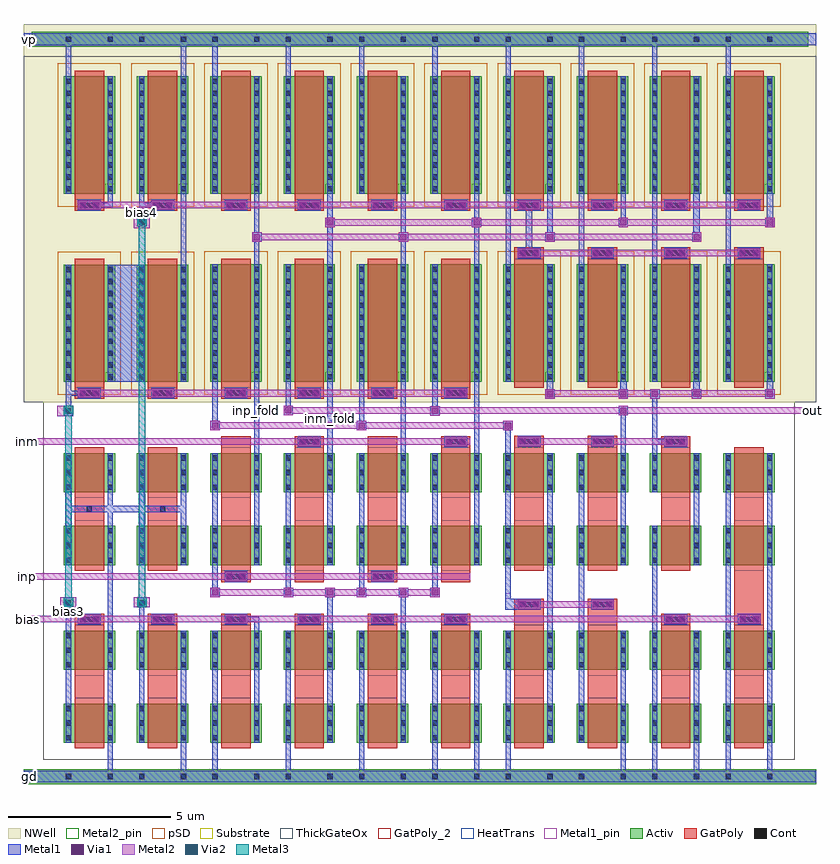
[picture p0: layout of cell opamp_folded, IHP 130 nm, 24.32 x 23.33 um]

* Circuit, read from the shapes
.subckt opamp_folded bias bias3 bias4 gd inm inm_fold inp inp_fold out vp
XM1 gd bias bias3 gd sg13_hv_nmos w=1.2u l=0.9u m=2
XM2 gd gd gd gd sg13_hv_nmos w=1.2u l=0.9u m=4
XM3 gd bias bias4 gd sg13_hv_nmos w=1.2u l=0.9u m=2
XM4 bias bias gd gd sg13_hv_nmos w=1.2u l=0.9u m=2
XM5 inp_fold inp n1 gd sg13_hv_nmos w=1.2u l=0.9u m=4
XM6 n1 bias gd gd sg13_hv_nmos w=1.2u l=0.9u m=4
XM7 inm_fold inm n1 gd sg13_hv_nmos w=1.2u l=0.9u m=4
XM8 gd bias gd gd sg13_hv_nmos w=1.2u l=0.9u m=8
XM9 n2 n3 gd gd sg13_hv_nmos w=1.2u l=0.9u m=2
XM10 n2 n4 n3 gd sg13_hv_nmos w=1.2u l=0.9u m=2
XM11 gd n3 n5 gd sg13_hv_nmos w=1.2u l=0.9u m=2
XM12 out n4 n5 gd sg13_hv_nmos w=1.2u l=0.9u m=2
XM13 n6 n4 gd gd sg13_hv_nmos w=1.2u l=0.9u
XM14 n6 n4 n4 gd sg13_hv_nmos w=1.2u l=0.9u
XM15 n7 bias3 bias3 vp sg13_hv_pmos w=3.6u l=0.9u
XM16 bias4 bias4 vp vp sg13_hv_pmos w=3.6u l=0.9u m=2
XM17 vp bias3 n7 vp sg13_hv_pmos w=3.6u l=0.9u
XM18 inp_fold bias3 n3 vp sg13_hv_pmos w=3.6u l=0.9u m=2
XM19 inp_fold bias4 vp vp sg13_hv_pmos w=3.6u l=0.9u m=4
XM20 inm_fold bias3 out vp sg13_hv_pmos w=3.6u l=0.9u m=2
XM21 inm_fold bias4 vp vp sg13_hv_pmos w=3.6u l=0.9u m=4
XM22 n4 bias4 vp vp sg13_hv_pmos w=3.6u l=0.9u m=4
.ends

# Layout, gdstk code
import gdstk
lib = gdstk.Library(unit=1e-6, precision=1e-09)
def R(c, l, rs):  # rectangles x0, y0, x1, y1
    for r in rs: c.add(gdstk.rectangle(r[:2], r[2:], *l))
def A(c, l, x, y, w, h, nx, ny, dx, dy):  # array of equal rectangles
    R(c, l, [(x+i*dx, y+j*dy, x+i*dx+w, y+j*dy+h) for i in range(nx) for j in range(ny)])
Activ = (1, 0)
GatPoly = (5, 0)
GatPoly_2 = (5, 2)
Cont = (6, 0)
Metal1 = (8, 0)
Metal1_pin = (8, 2)
Metal2 = (10, 0)
Metal2_pin = (10, 2)
pSD = (14, 0)
Via1 = (19, 0)
Via2 = (29, 0)
Metal3 = (30, 0)
NWell = (31, 0)
Substrate = (40, 0)
ThickGateOx = (44, 0)
HeatTrans = (51, 0)

pmoshv = lib.new_cell('pmosHV')
R(pmoshv, Activ, [(0,0,0.3,0.3), (0,0,1.58,3.6), (1.28,0,1.58,0.3)])
R(pmoshv, GatPoly, [(0.34,-0.18,1.24,3.78)])
R(pmoshv, GatPoly_2, [(0.34,-0.18,1.24,3.78)])
A(pmoshv, Cont, 0.07, 0.07, 0.16, 0.16, 1, 3, 0, 0.365)
A(pmoshv, Cont, 1.35, 0.07, 0.16, 0.16, 1, 3, 0, 0.365)
A(pmoshv, Cont, 0.07, 1.17, 0.16, 0.16, 1, 3, 0, 0.365)
A(pmoshv, Cont, 1.35, 1.17, 0.16, 0.16, 1, 3, 0, 0.365)
A(pmoshv, Cont, 0.07, 2.27, 0.16, 0.16, 1, 3, 0, 0.365)
A(pmoshv, Cont, 1.35, 2.27, 0.16, 0.16, 1, 3, 0, 0.365)
R(pmoshv, Cont, [(0.07,3.37,0.23,3.53), (1.35,3.37,1.51,3.53)])
R(pmoshv, Metal1, [(0.07,0,0.23,3.6), (1.35,0,1.51,3.6)])
R(pmoshv, Metal1_pin, [(0.07,0,0.23,3.6), (1.35,0,1.51,3.6)])
R(pmoshv, pSD, [(-0.18,-0.4,1.76,4)])
R(pmoshv, NWell, [(-0.62,-0.62,2.2,4.22)])
R(pmoshv, Substrate, [(1.28,0,1.58,0.3)])
R(pmoshv, ThickGateOx, [(-0.62,-0.62,2.2,4.22)])
R(pmoshv, HeatTrans, [(0.34,-0.18,1.24,3.78)])
pmoshv.add(gdstk.Label('pmosHV', (0.79,1.8), layer=63, texttype=0))
pmoshv.add(gdstk.Label('pmos', (0.79,1.8), layer=51, texttype=0))

via_stack_1 = lib.new_cell('via_stack$1')
R(via_stack_1, Metal1, [(-0.145,-0.145,0.145,0.145)])
R(via_stack_1, Metal2, [(-0.145,-0.145,0.145,0.145)])
R(via_stack_1, Via1, [(-0.095,-0.095,0.095,0.095)])

via_stack_6 = lib.new_cell('via_stack$6')
R(via_stack_6, Metal1, [(-0.145,-0.145,0.145,0.145)])
R(via_stack_6, Metal2, [(-0.145,-0.145,0.145,0.145)])
R(via_stack_6, Via1, [(-0.095,-0.095,0.095,0.095)])
R(via_stack_6, Via2, [(-0.095,-0.095,0.095,0.095)])
R(via_stack_6, Metal3, [(-0.145,-0.145,0.145,0.145)])

via_stack = lib.new_cell('via_stack')
R(via_stack, Metal1, [(-0.35,-0.145,0.35,0.145)])
R(via_stack, Metal2, [(-0.35,-0.145,0.35,0.145)])
R(via_stack, Via1, [(-0.3,-0.095,-0.11,0.095), (0.11,-0.095,0.3,0.095)])

nmoshv = lib.new_cell('nmosHV')
R(nmoshv, Activ, [(0,0,0.3,0.3), (0,0,1.58,1.2), (1.28,0,1.58,0.3)])
R(nmoshv, GatPoly, [(0.34,-0.18,1.24,1.38)])
R(nmoshv, GatPoly_2, [(0.34,-0.18,1.24,1.38)])
A(nmoshv, Cont, 0.07, 0.07, 0.16, 0.16, 1, 3, 0, 0.45)
A(nmoshv, Cont, 1.35, 0.07, 0.16, 0.16, 1, 3, 0, 0.45)
R(nmoshv, Metal1, [(0.07,0,0.23,1.2), (1.35,0,1.51,1.2)])
R(nmoshv, Metal1_pin, [(0.07,0,0.23,1.2), (1.35,0,1.51,1.2)])
R(nmoshv, ThickGateOx, [(-0.27,-0.52,1.85,1.72)])
R(nmoshv, HeatTrans, [(0.34,-0.18,1.24,1.38)])
nmoshv.add(gdstk.Label('nmosHV', (0.79,0.6), layer=63, texttype=0))
nmoshv.add(gdstk.Label('nmosHV', (0.79,0.6), layer=51, texttype=0))

opamp_folded = lib.new_cell('opamp_folded')
A(opamp_folded, GatPoly, 6.06, 6.2, 0.9, 0.34, 4, 2, 2.25, 4.14)
A(opamp_folded, GatPoly, 6.06, 11.83, 0.9, 0.34, 4, 1, 2.25, 0)
A(opamp_folded, GatPoly, 15.06, 16.13, 0.9, 0.34, 4, 1, 2.25, 0)
A(opamp_folded, GatPoly, 1.56, 17.6, 0.9, 0.34, 10, 1, 2.25, 0)
R(opamp_folded, GatPoly, [(1.56,11.825,2.46,12.165), (3.81,11.825,4.71,12.165)])
A(opamp_folded, Cont, 1.71, 4.98, 0.6, 0.16, 6, 2, 2.25, 6.94)
A(opamp_folded, Cont, 15.21, 16.22, 0.6, 0.16, 4, 1, 2.25, 0)
A(opamp_folded, Cont, 1.71, 17.69, 0.6, 0.16, 10, 1, 2.25, 0)
R(opamp_folded, Cont, [(1.29,0.15,1.45,0.31), (2.57,0.15,2.73,0.31), (3.54,0.15,3.7,0.31), (4.82,0.15,4.98,0.31), (5.79,0.15,5.95,0.31), (7.07,0.15,7.23,0.31), (8.04,0.15,8.2,0.31), (9.32,0.15,9.48,0.31), (10.29,0.15,10.45,0.31), (11.57,0.15,11.73,0.31), (12.54,0.15,12.7,0.31), (13.82,0.15,13.98,0.31), (14.79,0.15,14.95,0.31), (16.07,0.15,16.23,0.31), (17.04,0.15,17.2,0.31), (18.32,0.15,18.48,0.31), (19.29,0.15,19.45,0.31), (20.57,0.15,20.73,0.31), (21.54,0.15,21.7,0.31), (22.82,0.15,22.98,0.31), (19.71,4.98,20.31,5.14), (21.97,4.98,22.57,5.14), (15.21,5.43,15.81,5.59), (17.46,5.43,18.06,5.59), (6.21,6.29,6.81,6.45), (10.71,6.29,11.31,6.45), (1.93,8.36,2.09,8.52), (4.18,8.36,4.34,8.52), (8.46,10.43,9.06,10.59), (12.96,10.43,13.56,10.59), (19.71,10.43,20.31,10.59), (15.21,10.44,15.81,10.6), (17.46,10.44,18.06,10.6), (1.29,22.78,1.45,22.94), (2.57,22.78,2.73,22.94), (3.54,22.78,3.7,22.94), (4.82,22.78,4.98,22.94), (5.79,22.78,5.95,22.94), (7.07,22.78,7.23,22.94), (8.04,22.78,8.2,22.94), (9.32,22.78,9.48,22.94), (10.29,22.78,10.45,22.94), (11.57,22.78,11.73,22.94), (12.54,22.78,12.7,22.94), (13.82,22.78,13.98,22.94), (14.79,22.78,14.95,22.94), (16.07,22.78,16.23,22.94), (17.04,22.78,17.2,22.94), (18.32,22.78,18.48,22.94), (19.29,22.78,19.45,22.94), (20.57,22.78,20.73,22.94), (21.54,22.78,21.7,22.94), (22.82,22.78,22.98,22.94)])
A(opamp_folded, Metal1, 1.66, 4.89, 0.7, 0.34, 6, 1, 2.25, 0)
A(opamp_folded, Metal1, 6.16, 11.83, 0.7, 0.34, 4, 1, 2.25, 0)
A(opamp_folded, Metal1, 15.16, 16.13, 0.7, 0.34, 4, 1, 2.25, 0)
A(opamp_folded, Metal1, 1.66, 17.6, 0.7, 0.34, 10, 1, 2.25, 0)
R(opamp_folded, Metal1, [(19.66,4.89,20.36,5.23), (21.92,4.89,22.62,5.23), (15.16,5.345,15.86,5.685), (17.41,5.345,18.11,5.685), (6.16,6.2,6.86,6.54), (10.66,6.2,11.36,6.54), (8.41,10.34,9.11,10.68), (12.91,10.34,13.61,10.68), (19.66,10.34,20.36,10.68), (15.16,10.35,15.86,10.69), (17.41,10.35,18.11,10.69), (1.66,11.825,2.36,12.165), (3.91,11.825,4.61,12.165), (2.57,12.345,3.7,15.945)])
R(opamp_folded, Metal1_pin, [(0,0.05,0.36,0.41), (1.29,5.22,1.45,5.38), (14.78,5.69,14.94,5.85), (9.32,11.14,9.48,11.3), (7.07,11.38,7.23,11.54), (3.54,17.46,3.7,17.62), (0,22.68,0.36,23.04)])
R(opamp_folded, Metal2, [(1.12,5.42,1.61,5.73), (3.38,5.42,3.87,5.73), (1.02,11.295,1.51,11.605), (3.38,17.055,3.87,17.415)])
R(opamp_folded, Metal2_pin, [(0,4.96,0.2,5.16), (0,6.27,0.2,6.47), (0,10.41,0.2,10.61), (24.12,11.36,24.32,11.56)])
R(opamp_folded, NWell, [(0,11.725,24.32,23.33)])
R(opamp_folded, ThickGateOx, [(0.6,0.75,23.67,11.725), (0,11.725,24.32,22.34)])
opamp_folded.add(gdstk.FlexPath([(0,0.23),(24.32,0.23)], 0.36, ends="flush", simple_path=True, layer=8, datatype=0))  # Metal1
opamp_folded.add(gdstk.FlexPath([(3.62,18.12),(3.62,17.77),(3.91,17.77)], 0.16, ends="flush", simple_path=True, layer=8, datatype=0))  # Metal1
opamp_folded.add(gdstk.FlexPath([(2.65,18.12),(2.65,17.77),(2.36,17.77)], 0.16, ends="flush", simple_path=True, layer=8, datatype=0))  # Metal1
opamp_folded.add(gdstk.FlexPath([(11.65,21.685),(11.65,16.685)], 0.16, ends="flush", simple_path=True, layer=8, datatype=0))  # Metal1
opamp_folded.add(gdstk.FlexPath([(9.4,21.72),(9.4,17.135)], 0.16, ends="flush", simple_path=True, layer=8, datatype=0))  # Metal1
opamp_folded.add(gdstk.FlexPath([(7.15,21.685),(7.15,16.685)], 0.16, ends="flush", simple_path=True, layer=8, datatype=0))  # Metal1
opamp_folded.add(gdstk.FlexPath([(4.9,15.945),(4.9,22.86)], 0.16, ends="flush", simple_path=True, layer=8, datatype=0))  # Metal1
opamp_folded.add(gdstk.FlexPath([(13.9,21.72),(13.9,17.135)], 0.16, ends="flush", simple_path=True, layer=8, datatype=0))  # Metal1
opamp_folded.add(gdstk.FlexPath([(16.15,21.685),(16.15,16.685)], 0.16, ends="flush", simple_path=True, layer=8, datatype=0))  # Metal1
opamp_folded.add(gdstk.FlexPath([(18.4,21.72),(18.4,17.135)], 0.16, ends="flush", simple_path=True, layer=8, datatype=0))  # Metal1
opamp_folded.add(gdstk.FlexPath([(20.65,18.12),(20.65,16.64)], 0.2, ends="flush", simple_path=True, layer=8, datatype=0))  # Metal1
opamp_folded.add(gdstk.FlexPath([(22.9,18.12),(22.9,17.095)], 0.2, ends="flush", simple_path=True, layer=8, datatype=0))  # Metal1
opamp_folded.add(gdstk.FlexPath([(15.51,17.855),(15.51,16.47)], 0.2, ends="flush", simple_path=True, layer=8, datatype=0))  # Metal1
opamp_folded.add(gdstk.FlexPath([(1.66,11.995),(1.37,11.995),(1.37,12.345)], 0.16, ends="flush", simple_path=True, layer=8, datatype=0))  # Metal1
opamp_folded.add(gdstk.FlexPath([(1.37,11.995),(1.37,11.295)], 0.16, ends="flush", simple_path=True, layer=8, datatype=0))  # Metal1
opamp_folded.add(gdstk.FlexPath([(21.62,12.35),(21.62,22.86)], 0.16, ends="flush", simple_path=True, layer=8, datatype=0))  # Metal1
opamp_folded.add(gdstk.FlexPath([(19.37,12.35),(19.37,22.86)], 0.16, ends="flush", simple_path=True, layer=8, datatype=0))  # Metal1
opamp_folded.add(gdstk.FlexPath([(3.62,17.125),(3.62,18.12)], 0.16, ends="flush", simple_path=True, layer=8, datatype=0))  # Metal1
opamp_folded.add(gdstk.FlexPath([(8.12,12.65),(8.12,11.36)], 0.16, ends="flush", simple_path=True, layer=8, datatype=0))  # Metal1
opamp_folded.add(gdstk.FlexPath([(12.62,12.65),(12.62,11.36)], 0.16, ends="flush", simple_path=True, layer=8, datatype=0))  # Metal1
opamp_folded.add(gdstk.FlexPath([(1.37,1.27),(1.37,5.71)], 0.16, ends="flush", simple_path=True, layer=8, datatype=0))  # Metal1
opamp_folded.add(gdstk.FlexPath([(15.16,5.515),(14.78,5.515)], 0.34, ends="flush", simple_path=True, layer=8, datatype=0))  # Metal1
opamp_folded.add(gdstk.FlexPath([(0,22.86),(24.32,22.86)], 0.36, ends="flush", simple_path=True, layer=8, datatype=0))  # Metal1
opamp_folded.add(gdstk.FlexPath([(4.9,4.71),(4.9,0.23)], 0.16, ends="flush", simple_path=True, layer=8, datatype=0))  # Metal1
opamp_folded.add(gdstk.FlexPath([(5.87,4.71),(5.87,0.23)], 0.16, ends="flush", simple_path=True, layer=8, datatype=0))  # Metal1
opamp_folded.add(gdstk.FlexPath([(8.12,4.71),(8.12,0.23)], 0.16, ends="flush", simple_path=True, layer=8, datatype=0))  # Metal1
opamp_folded.add(gdstk.FlexPath([(10.37,4.71),(10.37,0.23)], 0.16, ends="flush", simple_path=True, layer=8, datatype=0))  # Metal1
opamp_folded.add(gdstk.FlexPath([(13.9,4.71),(13.9,0.23)], 0.16, ends="flush", simple_path=True, layer=8, datatype=0))  # Metal1
opamp_folded.add(gdstk.FlexPath([(12.62,4.71),(12.62,0.23)], 0.16, ends="flush", simple_path=True, layer=8, datatype=0))  # Metal1
opamp_folded.add(gdstk.FlexPath([(14.87,4.71),(14.87,0.23)], 0.16, ends="flush", simple_path=True, layer=8, datatype=0))  # Metal1
opamp_folded.add(gdstk.FlexPath([(18.4,4.71),(18.4,0.23)], 0.16, ends="flush", simple_path=True, layer=8, datatype=0))  # Metal1
opamp_folded.add(gdstk.FlexPath([(20.65,4.71),(20.65,0.23)], 0.16, ends="flush", simple_path=True, layer=8, datatype=0))  # Metal1
opamp_folded.add(gdstk.FlexPath([(21.62,10.16),(21.62,0.23)], 0.16, ends="flush", simple_path=True, layer=8, datatype=0))  # Metal1
opamp_folded.add(gdstk.FlexPath([(22.9,10.16),(22.9,0.23)], 0.16, ends="flush", simple_path=True, layer=8, datatype=0))  # Metal1
opamp_folded.add(gdstk.FlexPath([(16.15,12.35),(16.15,11.875)], 0.2, ends="flush", simple_path=True, layer=8, datatype=0))  # Metal1
opamp_folded.add(gdstk.FlexPath([(18.4,12.35),(18.4,11.875)], 0.2, ends="flush", simple_path=True, layer=8, datatype=0))  # Metal1
opamp_folded.add(gdstk.FlexPath([(1.37,18.12),(1.37,22.86)], 0.16, ends="flush", simple_path=True, layer=8, datatype=0))  # Metal1
opamp_folded.add(gdstk.FlexPath([(5.87,18.12),(5.87,22.86)], 0.16, ends="flush", simple_path=True, layer=8, datatype=0))  # Metal1
opamp_folded.add(gdstk.FlexPath([(8.12,18.12),(8.12,22.86)], 0.16, ends="flush", simple_path=True, layer=8, datatype=0))  # Metal1
opamp_folded.add(gdstk.FlexPath([(10.37,18.12),(10.37,22.86)], 0.16, ends="flush", simple_path=True, layer=8, datatype=0))  # Metal1
opamp_folded.add(gdstk.FlexPath([(12.62,18.12),(12.62,22.86)], 0.16, ends="flush", simple_path=True, layer=8, datatype=0))  # Metal1
opamp_folded.add(gdstk.FlexPath([(17.12,12.35),(17.12,22.86)], 0.16, ends="flush", simple_path=True, layer=8, datatype=0))  # Metal1
opamp_folded.add(gdstk.FlexPath([(14.87,12.35),(14.87,22.86)], 0.16, ends="flush", simple_path=True, layer=8, datatype=0))  # Metal1
opamp_folded.add(gdstk.FlexPath([(20.65,12.35),(20.65,11.88)], 0.2, ends="flush", simple_path=True, layer=8, datatype=0))  # Metal1
opamp_folded.add(gdstk.FlexPath([(22.9,12.35),(22.9,11.88)], 0.2, ends="flush", simple_path=True, layer=8, datatype=0))  # Metal1
opamp_folded.add(gdstk.FlexPath([(19.37,10.16),(19.37,12.12)], 0.16, ends="flush", simple_path=True, layer=8, datatype=0))  # Metal1
opamp_folded.add(gdstk.FlexPath([(1.37,7.92),(1.37,8.96)], 0.16, ends="flush", simple_path=True, layer=8, datatype=0))  # Metal1
opamp_folded.add(gdstk.FlexPath([(2.65,7.92),(2.65,8.96)], 0.16, ends="flush", simple_path=True, layer=8, datatype=0))  # Metal1
opamp_folded.add(gdstk.FlexPath([(3.62,7.92),(3.62,8.96)], 0.16, ends="flush", simple_path=True, layer=8, datatype=0))  # Metal1
opamp_folded.add(gdstk.FlexPath([(4.9,7.92),(4.9,8.96)], 0.16, ends="flush", simple_path=True, layer=8, datatype=0))  # Metal1
opamp_folded.add(gdstk.FlexPath([(2.65,6.72),(2.65,4.71)], 0.16, ends="flush", simple_path=True, layer=8, datatype=0))  # Metal1
opamp_folded.add(gdstk.FlexPath([(1.365,8.44),(4.9,8.44)], 0.2, ends="flush", simple_path=True, layer=8, datatype=0))  # Metal1
opamp_folded.add(gdstk.FlexPath([(14.86,5.345),(14.86,11.095)], 0.16, ends="flush", simple_path=True, layer=8, datatype=0))  # Metal1
opamp_folded.add(gdstk.FlexPath([(19.37,6.72),(19.37,0.23)], 0.16, ends="flush", simple_path=True, layer=8, datatype=0))  # Metal1
opamp_folded.add(gdstk.FlexPath([(10.37,10.16),(10.37,5.78)], 0.16, ends="flush", simple_path=True, layer=8, datatype=0))  # Metal1
opamp_folded.add(gdstk.FlexPath([(7.15,6.72),(7.15,16.68)], 0.16, ends="flush", simple_path=True, layer=8, datatype=0))  # Metal1
opamp_folded.add(gdstk.FlexPath([(12.62,10.16),(12.62,5.78)], 0.16, ends="flush", simple_path=True, layer=8, datatype=0))  # Metal1
opamp_folded.add(gdstk.FlexPath([(9.4,6.72),(9.4,17.105)], 0.16, ends="flush", simple_path=True, layer=8, datatype=0))  # Metal1
opamp_folded.add(gdstk.FlexPath([(11.65,4.71),(11.65,1.27)], 0.16, ends="flush", simple_path=True, layer=8, datatype=0))  # Metal1
opamp_folded.add(gdstk.FlexPath([(11.65,1.27),(11.65,5.99)], 0.16, ends="flush", simple_path=True, layer=8, datatype=0))  # Metal1
opamp_folded.add(gdstk.FlexPath([(16.15,1.27),(16.15,10.16)], 0.16, ends="flush", simple_path=True, layer=8, datatype=0))  # Metal1
opamp_folded.add(gdstk.FlexPath([(17.12,10.16),(17.12,1.27)], 0.16, ends="flush", simple_path=True, layer=8, datatype=0))  # Metal1
opamp_folded.add(gdstk.FlexPath([(11.65,6.72),(11.65,16.685)], 0.16, ends="flush", simple_path=True, layer=8, datatype=0))  # Metal1
opamp_folded.add(gdstk.FlexPath([(13.9,6.72),(13.9,17.1)], 0.16, ends="flush", simple_path=True, layer=8, datatype=0))  # Metal1
opamp_folded.add(gdstk.FlexPath([(8.12,10.09),(8.12,5.78)], 0.16, ends="flush", simple_path=True, layer=8, datatype=0))  # Metal1
opamp_folded.add(gdstk.FlexPath([(5.87,10.16),(5.87,5.785)], 0.16, ends="flush", simple_path=True, layer=8, datatype=0))  # Metal1
opamp_folded.add(gdstk.FlexPath([(18.4,6.72),(18.4,11.515)], 0.16, ends="flush", simple_path=True, layer=8, datatype=0))  # Metal1
opamp_folded.add(gdstk.FlexPath([(9.4,1.27),(9.4,5.99)], 0.16, ends="flush", simple_path=True, layer=8, datatype=0))  # Metal1
opamp_folded.add(gdstk.FlexPath([(7.15,1.27),(7.15,5.06),(6.86,5.06)], 0.16, ends="flush", simple_path=True, layer=8, datatype=0))  # Metal1
opamp_folded.add(gdstk.FlexPath([(5.87,12.615),(5.87,10.9)], 0.16, ends="flush", simple_path=True, layer=8, datatype=0))  # Metal1
opamp_folded.add(gdstk.FlexPath([(10.37,12.615),(10.37,10.9)], 0.16, ends="flush", simple_path=True, layer=8, datatype=0))  # Metal1
opamp_folded.add(gdstk.FlexPath([(3.62,1.27),(3.62,5.58)], 0.16, ends="flush", simple_path=True, layer=8, datatype=0))  # Metal1
opamp_folded.add(gdstk.FlexPath([(20.65,7.92),(20.65,8.96)], 0.16, ends="flush", simple_path=True, layer=8, datatype=0))  # Metal1
opamp_folded.add(gdstk.FlexPath([(19.37,10.16),(19.37,10.51),(19.66,10.51)], 0.16, ends="flush", simple_path=True, layer=8, datatype=0))  # Metal1
opamp_folded.add(gdstk.FlexPath([(2.65,4.71),(2.65,0.23)], 0.16, ends="flush", simple_path=True, layer=8, datatype=0))  # Metal1
opamp_folded.add(gdstk.FlexPath([(22.61,17.77),(4.56,17.77)], 0.2, ends="flush", simple_path=True, layer=10, datatype=0))  # Metal2
opamp_folded.add(gdstk.FlexPath([(4.61,17.77),(1.66,17.77)], 0.2, ends="flush", simple_path=True, layer=10, datatype=0))  # Metal2
opamp_folded.add(gdstk.FlexPath([(23.05,17.24),(9.255,17.24)], 0.2, ends="flush", simple_path=True, layer=10, datatype=0))  # Metal2
opamp_folded.add(gdstk.FlexPath([(7.005,16.785),(20.8,16.785)], 0.2, ends="flush", simple_path=True, layer=10, datatype=0))  # Metal2
opamp_folded.add(gdstk.FlexPath([(1.66,11.995),(13.61,11.995)], 0.2, ends="flush", simple_path=True, layer=10, datatype=0))  # Metal2
opamp_folded.add(gdstk.FlexPath([(15.16,16.3),(22.61,16.3)], 0.2, ends="flush", simple_path=True, layer=10, datatype=0))  # Metal2
opamp_folded.add(gdstk.FlexPath([(8.02,11.46),(24.32,11.46)], 0.2, ends="flush", simple_path=True, layer=10, datatype=0))  # Metal2
opamp_folded.add(gdstk.FlexPath([(13.71,10.51),(0,10.51)], 0.2, ends="flush", simple_path=True, layer=10, datatype=0))  # Metal2
opamp_folded.add(gdstk.FlexPath([(13.71,6.37),(0,6.37)], 0.2, ends="flush", simple_path=True, layer=10, datatype=0))  # Metal2
opamp_folded.add(gdstk.FlexPath([(15.16,5.515),(18.11,5.515)], 0.2, ends="flush", simple_path=True, layer=10, datatype=0))  # Metal2
opamp_folded.add(gdstk.FlexPath([(23.045,11.98),(16.005,11.98)], 0.2, ends="flush", simple_path=True, layer=10, datatype=0))  # Metal2
opamp_folded.add(gdstk.FlexPath([(0,5.06),(22.62,5.06)], 0.2, ends="flush", simple_path=True, layer=10, datatype=0))  # Metal2
opamp_folded.add(gdstk.FlexPath([(15.16,10.52),(20.36,10.52)], 0.2, ends="flush", simple_path=True, layer=10, datatype=0))  # Metal2
opamp_folded.add(gdstk.FlexPath([(5.77,11),(14.94,11)], 0.2, ends="flush", simple_path=True, layer=10, datatype=0))  # Metal2
opamp_folded.add(gdstk.FlexPath([(12.765,5.885),(5.725,5.885)], 0.2, ends="flush", simple_path=True, layer=10, datatype=0))  # Metal2
opamp_folded.add(gdstk.FlexPath([(3.625,5.575),(3.625,17.33)], 0.2, ends="flush", simple_path=True, layer=30, datatype=0))  # Metal3
opamp_folded.add(gdstk.FlexPath([(1.365,11.325),(1.365,5.575)], 0.2, ends="flush", simple_path=True, layer=30, datatype=0))  # Metal3
opamp_folded.add(gdstk.FlexPath([(0,0.23),(24.32,0.23)], 0.46, ends="flush", simple_path=True, layer=1, datatype=0))  # Activ
opamp_folded.add(gdstk.FlexPath([(0.24,22.86),(24.08,22.86)], 0.46, ends="flush", simple_path=True, layer=1, datatype=0))  # Activ
opamp_folded.add(gdstk.FlexPath([(17.76,1.09),(17.76,5.685)], 0.9, ends="flush", simple_path=True, layer=5, datatype=0))  # GatPoly
opamp_folded.add(gdstk.FlexPath([(15.51,1.09),(15.51,5.685)], 0.9, ends="flush", simple_path=True, layer=5, datatype=0))  # GatPoly
opamp_folded.add(gdstk.FlexPath([(11.01,8.1),(11.01,8.78)], 0.9, ends="flush", simple_path=True, layer=5, datatype=0))  # GatPoly
opamp_folded.add(gdstk.FlexPath([(13.26,8.1),(13.26,8.78)], 0.9, ends="flush", simple_path=True, layer=5, datatype=0))  # GatPoly
opamp_folded.add(gdstk.FlexPath([(11.01,1.09),(11.01,5.23)], 0.9, ends="flush", simple_path=True, layer=5, datatype=0))  # GatPoly
opamp_folded.add(gdstk.FlexPath([(8.76,1.09),(8.76,5.23)], 0.9, ends="flush", simple_path=True, layer=5, datatype=0))  # GatPoly
opamp_folded.add(gdstk.FlexPath([(13.26,1.09),(13.26,5.23)], 0.9, ends="flush", simple_path=True, layer=5, datatype=0))  # GatPoly
opamp_folded.add(gdstk.FlexPath([(20.01,1.09),(20.01,5.23)], 0.9, ends="flush", simple_path=True, layer=5, datatype=0))  # GatPoly
opamp_folded.add(gdstk.FlexPath([(8.76,8.1),(8.76,8.78)], 0.9, ends="flush", simple_path=True, layer=5, datatype=0))  # GatPoly
opamp_folded.add(gdstk.FlexPath([(6.51,8.1),(6.51,8.78)], 0.9, ends="flush", simple_path=True, layer=5, datatype=0))  # GatPoly
opamp_folded.add(gdstk.FlexPath([(15.51,6.54),(15.51,10.69)], 0.9, ends="flush", simple_path=True, layer=5, datatype=0))  # GatPoly
opamp_folded.add(gdstk.FlexPath([(17.76,6.54),(17.76,10.69)], 0.9, ends="flush", simple_path=True, layer=5, datatype=0))  # GatPoly
opamp_folded.add(gdstk.FlexPath([(2.01,1.09),(2.01,5.23)], 0.9, ends="flush", simple_path=True, layer=5, datatype=0))  # GatPoly
opamp_folded.add(gdstk.FlexPath([(4.26,1.09),(4.26,5.23)], 0.9, ends="flush", simple_path=True, layer=5, datatype=0))  # GatPoly
opamp_folded.add(gdstk.FlexPath([(4.26,8.1),(4.26,8.78)], 0.9, ends="flush", simple_path=True, layer=5, datatype=0))  # GatPoly
opamp_folded.add(gdstk.FlexPath([(2.01,8.1),(2.01,8.78)], 0.9, ends="flush", simple_path=True, layer=5, datatype=0))  # GatPoly
opamp_folded.add(gdstk.FlexPath([(6.51,5.23),(6.51,1.09)], 0.9, ends="flush", simple_path=True, layer=5, datatype=0))  # GatPoly
opamp_folded.add(gdstk.FlexPath([(20.01,10.68),(20.01,6.54)], 0.9, ends="flush", simple_path=True, layer=5, datatype=0))  # GatPoly
opamp_folded.add(gdstk.FlexPath([(22.26,1.09),(22.26,5.23)], 0.9, ends="flush", simple_path=True, layer=5, datatype=0))  # GatPoly
opamp_folded.add(gdstk.FlexPath([(22.26,10.34),(22.26,5.23)], 0.9, ends="flush", simple_path=True, layer=5, datatype=0))  # GatPoly
opamp_folded.add(gdstk.FlexPath([(0.03,0.23),(24.29,0.23)], 0.36, ends="flush", simple_path=True, layer=14, datatype=0))  # pSD
opamp_folded.add(gdstk.Reference(pmoshv, (10.22,18.12)))
opamp_folded.add(gdstk.Reference(pmoshv, (12.47,18.12)))
opamp_folded.add(gdstk.Reference(via_stack_1, (18.4,11.46)))
opamp_folded.add(gdstk.Reference(via_stack_1, (12.62,11.455)))
opamp_folded.add(gdstk.Reference(pmoshv, (10.22,12.35)))
opamp_folded.add(gdstk.Reference(pmoshv, (12.47,12.35)))
opamp_folded.add(gdstk.Reference(via_stack_1, (8.115,11.47)))
opamp_folded.add(gdstk.Reference(via_stack_6, (1.365,11.46)))
opamp_folded.add(gdstk.Reference(via_stack, (13.26,12)))
opamp_folded.add(gdstk.Reference(pmoshv, (19.22,18.12)))
opamp_folded.add(gdstk.Reference(pmoshv, (21.47,18.12)))
opamp_folded.add(gdstk.Reference(via_stack_1, (13.9,17.24)))
opamp_folded.add(gdstk.Reference(via_stack_1, (16.15,16.785)))
opamp_folded.add(gdstk.Reference(via_stack_1, (18.4,17.24)))
opamp_folded.add(gdstk.Reference(via_stack_1, (20.655,16.785)))
opamp_folded.add(gdstk.Reference(via_stack_1, (22.905,17.235)))
opamp_folded.add(gdstk.Reference(via_stack, (13.26,17.77)))
opamp_folded.add(gdstk.Reference(via_stack, (15.51,17.77)))
opamp_folded.add(gdstk.Reference(via_stack, (17.76,17.77)))
opamp_folded.add(gdstk.Reference(via_stack, (20.01,17.77)))
opamp_folded.add(gdstk.Reference(via_stack, (22.26,17.77)))
opamp_folded.add(gdstk.Reference(pmoshv, (14.72,18.12)))
opamp_folded.add(gdstk.Reference(pmoshv, (14.72,12.35)))
opamp_folded.add(gdstk.Reference(pmoshv, (21.47,12.35)))
opamp_folded.add(gdstk.Reference(via_stack, (15.51,16.3)))
opamp_folded.add(gdstk.Reference(via_stack, (17.76,16.3)))
opamp_folded.add(gdstk.Reference(via_stack, (20.01,16.3)))
opamp_folded.add(gdstk.Reference(via_stack, (22.26,16.3)))
opamp_folded.add(gdstk.Reference(pmoshv, (16.97,18.12)))
opamp_folded.add(gdstk.Reference(pmoshv, (16.97,12.35)))
opamp_folded.add(gdstk.Reference(via_stack_1, (18.4,11.97)))
opamp_folded.add(gdstk.Reference(via_stack_1, (16.15,11.97)))
opamp_folded.add(gdstk.Reference(pmoshv, (19.22,12.35)))
opamp_folded.add(gdstk.Reference(via_stack_1, (20.65,11.975)))
opamp_folded.add(gdstk.Reference(via_stack_1, (22.9,11.975)))
opamp_folded.add(gdstk.Reference(via_stack_1, (19.37,11.975)))
opamp_folded.add(gdstk.Reference(pmoshv, (7.97,12.35)))
opamp_folded.add(gdstk.Reference(via_stack_1, (7.15,16.785)))
opamp_folded.add(gdstk.Reference(via_stack_1, (11.65,16.785)))
opamp_folded.add(gdstk.Reference(via_stack, (2.01,17.77)))
opamp_folded.add(gdstk.Reference(via_stack_1, (9.4,17.24)))
opamp_folded.add(gdstk.Reference(pmoshv, (3.47,18.12)))
opamp_folded.add(gdstk.Reference(via_stack, (6.51,17.77)))
opamp_folded.add(gdstk.Reference(via_stack, (8.76,17.77)))
opamp_folded.add(gdstk.Reference(pmoshv, (5.72,12.35)))
opamp_folded.add(gdstk.Reference(via_stack, (8.76,12)))
opamp_folded.add(gdstk.Reference(pmoshv, (7.97,18.12)))
opamp_folded.add(gdstk.Reference(via_stack, (11.01,12)))
opamp_folded.add(gdstk.Reference(via_stack, (11.01,17.77)))
opamp_folded.add(gdstk.Reference(via_stack, (4.26,17.77)))
opamp_folded.add(gdstk.Reference(via_stack_6, (3.625,17.27)))
opamp_folded.add(gdstk.Reference(via_stack, (6.51,12)))
opamp_folded.add(gdstk.Reference(pmoshv, (5.72,18.12)))
opamp_folded.add(gdstk.Reference(pmoshv, (1.22,18.12)))
opamp_folded.add(gdstk.Reference(pmoshv, (1.22,12.345)))
opamp_folded.add(gdstk.Reference(pmoshv, (3.47,12.345)))
opamp_folded.add(gdstk.Reference(via_stack, (2.01,11.995)))
opamp_folded.add(gdstk.Reference(via_stack, (4.26,11.995)))
opamp_folded.add(gdstk.Reference(nmoshv, (10.22,6.72)))
opamp_folded.add(gdstk.Reference(via_stack_1, (10.37,5.885)))
opamp_folded.add(gdstk.Reference(via_stack_1, (10.37,11)))
opamp_folded.add(gdstk.Reference(via_stack, (11.01,6.37)))
opamp_folded.add(gdstk.Reference(via_stack, (8.76,5.06)))
opamp_folded.add(gdstk.Reference(nmoshv, (5.72,3.51)))
opamp_folded.add(gdstk.Reference(via_stack, (6.51,5.06)))
opamp_folded.add(gdstk.Reference(nmoshv, (3.47,3.51)))
opamp_folded.add(gdstk.Reference(nmoshv, (3.47,1.27)))
opamp_folded.add(gdstk.Reference(nmoshv, (10.22,3.51)))
opamp_folded.add(gdstk.Reference(via_stack_1, (5.87,11)))
opamp_folded.add(gdstk.Reference(via_stack, (4.26,5.06)))
opamp_folded.add(gdstk.Reference(nmoshv, (7.97,3.51)))
opamp_folded.add(gdstk.Reference(nmoshv, (3.47,8.96)))
opamp_folded.add(gdstk.Reference(nmoshv, (3.47,6.72)))
opamp_folded.add(gdstk.Reference(nmoshv, (1.22,8.96)))
opamp_folded.add(gdstk.Reference(nmoshv, (1.22,6.72)))
opamp_folded.add(gdstk.Reference(via_stack_1, (11.65,5.885)))
opamp_folded.add(gdstk.Reference(nmoshv, (7.97,1.27)))
opamp_folded.add(gdstk.Reference(via_stack, (11.01,5.06)))
opamp_folded.add(gdstk.Reference(nmoshv, (10.22,1.27)))
opamp_folded.add(gdstk.Reference(nmoshv, (10.22,8.96)))
opamp_folded.add(gdstk.Reference(via_stack, (6.51,6.37)))
opamp_folded.add(gdstk.Reference(via_stack_1, (8.12,5.885)))
opamp_folded.add(gdstk.Reference(via_stack, (8.76,10.51)))
opamp_folded.add(gdstk.Reference(via_stack_6, (1.365,5.565)))
opamp_folded.add(gdstk.Reference(via_stack_1, (5.87,5.885)))
opamp_folded.add(gdstk.Reference(nmoshv, (7.97,8.96)))
opamp_folded.add(gdstk.Reference(via_stack_6, (3.625,5.565)))
opamp_folded.add(gdstk.Reference(nmoshv, (7.97,6.72)))
opamp_folded.add(gdstk.Reference(nmoshv, (5.72,1.27)))
opamp_folded.add(gdstk.Reference(via_stack_1, (9.4,5.885)))
opamp_folded.add(gdstk.Reference(via_stack, (2.01,5.06)))
opamp_folded.add(gdstk.Reference(nmoshv, (1.22,3.51)))
opamp_folded.add(gdstk.Reference(nmoshv, (1.22,1.27)))
opamp_folded.add(gdstk.Reference(nmoshv, (5.72,8.96)))
opamp_folded.add(gdstk.Reference(nmoshv, (5.72,6.72)))
opamp_folded.add(gdstk.Reference(via_stack, (17.76,5.515)))
opamp_folded.add(gdstk.Reference(via_stack, (17.76,10.52)))
opamp_folded.add(gdstk.Reference(via_stack, (15.51,10.52)))
opamp_folded.add(gdstk.Reference(via_stack, (15.51,5.515)))
opamp_folded.add(gdstk.Reference(nmoshv, (12.47,1.27)))
opamp_folded.add(gdstk.Reference(via_stack_1, (12.62,5.885)))
opamp_folded.add(gdstk.Reference(via_stack_1, (14.86,11)))
opamp_folded.add(gdstk.Reference(nmoshv, (16.97,6.72)))
opamp_folded.add(gdstk.Reference(nmoshv, (12.47,8.96)))
opamp_folded.add(gdstk.Reference(via_stack, (13.26,5.06)))
opamp_folded.add(gdstk.Reference(nmoshv, (14.72,1.27)))
opamp_folded.add(gdstk.Reference(nmoshv, (19.22,8.96)))
opamp_folded.add(gdstk.Reference(nmoshv, (19.22,6.72)))
opamp_folded.add(gdstk.Reference(via_stack, (20.01,10.51)))
opamp_folded.add(gdstk.Reference(nmoshv, (21.47,3.51)))
opamp_folded.add(gdstk.Reference(nmoshv, (21.47,1.27)))
opamp_folded.add(gdstk.Reference(nmoshv, (21.47,8.96)))
opamp_folded.add(gdstk.Reference(nmoshv, (21.47,6.72)))
opamp_folded.add(gdstk.Reference(via_stack, (22.27,5.06)))
opamp_folded.add(gdstk.Reference(nmoshv, (16.97,8.96)))
opamp_folded.add(gdstk.Reference(nmoshv, (19.22,3.51)))
opamp_folded.add(gdstk.Reference(via_stack, (20.01,5.06)))
opamp_folded.add(gdstk.Reference(nmoshv, (19.22,1.27)))
opamp_folded.add(gdstk.Reference(nmoshv, (16.97,3.51)))
opamp_folded.add(gdstk.Reference(nmoshv, (14.72,3.51)))
opamp_folded.add(gdstk.Reference(nmoshv, (12.47,3.51)))
opamp_folded.add(gdstk.Reference(via_stack, (13.26,10.51)))
opamp_folded.add(gdstk.Reference(nmoshv, (12.47,6.72)))
opamp_folded.add(gdstk.Reference(nmoshv, (14.72,6.72)))
opamp_folded.add(gdstk.Reference(nmoshv, (14.72,8.96)))
opamp_folded.add(gdstk.Reference(nmoshv, (16.97,1.27)))
opamp_folded.add(gdstk.Label('gd', (0.18,0.23), layer=8, texttype=25))
opamp_folded.add(gdstk.Label('vp', (0.18,22.86), layer=8, texttype=25))
opamp_folded.add(gdstk.Label('bias4', (3.62,17.54), layer=8, texttype=25))
opamp_folded.add(gdstk.Label('bias3', (1.37,5.3), layer=8, texttype=25))
opamp_folded.add(gdstk.Label('inp_fold', (7.15,11.46), layer=8, texttype=25))
opamp_folded.add(gdstk.Label('inm_fold', (9.4,11.22), layer=8, texttype=25))
opamp_folded.add(gdstk.Label('out', (24.22,11.46), layer=10, texttype=25))
opamp_folded.add(gdstk.Label('bias', (0.1,5.06), layer=10, texttype=25))
opamp_folded.add(gdstk.Label('inm', (0.1,10.51), layer=10, texttype=25))
opamp_folded.add(gdstk.Label('inp', (0.1,6.37), layer=10, texttype=25))

lib.write_gds('opamp_folded.gds')
